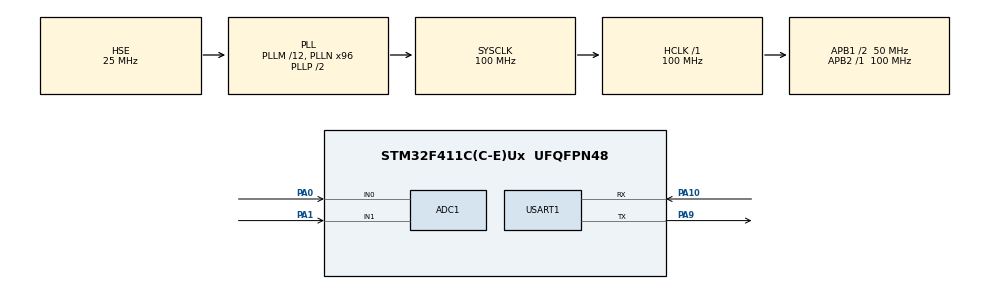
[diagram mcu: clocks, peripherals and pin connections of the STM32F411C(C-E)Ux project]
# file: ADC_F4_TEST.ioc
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ADC1.Channel-0\#ChannelRegularConversion=ADC_CHANNEL_0
ADC1.Channel-1\#ChannelRegularConversion=ADC_CHANNEL_1
ADC1.ContinuousConvMode=ENABLE
ADC1.DMAContinuousRequests=ENABLE
ADC1.NbrOfConversion=2
ADC1.NbrOfConversionFlag=1
ADC1.Rank-0\#ChannelRegularConversion=1
ADC1.Rank-1\#ChannelRegularConversion=2
ADC1.SamplingTime-0\#ChannelRegularConversion=ADC_SAMPLETIME_3CYCLES
ADC1.SamplingTime-1\#ChannelRegularConversion=ADC_SAMPLETIME_3CYCLES
ADC1.ScanConvMode=ENABLE
ADC1.master=1
Dma.ADC1.0.Direction=DMA_PERIPH_TO_MEMORY
Dma.ADC1.0.FIFOMode=DMA_FIFOMODE_DISABLE
Dma.ADC1.0.Instance=DMA2_Stream0
Dma.ADC1.0.MemDataAlignment=DMA_MDATAALIGN_HALFWORD
Dma.ADC1.0.MemInc=DMA_MINC_ENABLE
Dma.ADC1.0.Mode=DMA_CIRCULAR
Dma.ADC1.0.PeriphDataAlignment=DMA_PDATAALIGN_HALFWORD
Dma.ADC1.0.PeriphInc=DMA_PINC_DISABLE
Dma.ADC1.0.Priority=DMA_PRIORITY_LOW
Dma.Request0=ADC1
Mcu.Family=STM32F4
Mcu.Name=STM32F411C(C-E)Ux
Mcu.Package=UFQFPN48
NVIC.DMA2_Stream0_IRQn=true\:0\:0\:false\:false\:true\:false\:true
NVIC.PriorityGroup=NVIC_PRIORITYGROUP_4
PA0-WKUP.Signal=ADCx_IN0
PA1.Signal=ADCx_IN1
PA10.Mode=Asynchronous
PA10.Signal=USART1_RX
PA13.Mode=Serial_Wire
PA13.Signal=SYS_JTMS-SWDIO
PA14.Mode=Serial_Wire
PA14.Signal=SYS_JTCK-SWCLK
PA9.Mode=Asynchronous
PA9.Signal=USART1_TX
PH0\ -\ OSC_IN.Mode=HSE-External-Oscillator
PH0\ -\ OSC_IN.Signal=RCC_OSC_IN
PH1\ -\ OSC_OUT.Mode=HSE-External-Oscillator
PH1\ -\ OSC_OUT.Signal=RCC_OSC_OUT
ProjectManager.HeapSize=0x200
ProjectManager.StackSize=0x400
ProjectManager.TargetToolchain=MDK-ARM V5.32
RCC.48MHZClocksFreq_Value=50000000
RCC.AHBFreq_Value=100000000
RCC.APB1CLKDivider=RCC_HCLK_DIV2
RCC.APB1Freq_Value=50000000
RCC.APB1TimFreq_Value=100000000
RCC.APB2Freq_Value=100000000
RCC.APB2TimFreq_Value=100000000
RCC.CortexFreq_Value=100000000
RCC.HCLKFreq_Value=100000000
RCC.HSE_VALUE=25000000
RCC.HSI_VALUE=16000000
RCC.LSE_VALUE=32768
RCC.PLLM=12
RCC.PLLN=96
RCC.PLLSourceVirtual=RCC_PLLSOURCE_HSE
RCC.SYSCLKFreq_VALUE=100000000
RCC.SYSCLKSource=RCC_SYSCLKSOURCE_PLLCLK
RCC.VCOOutputFreq_Value=200000000
SH.ADCx_IN0.0=ADC1_IN0,IN0
SH.ADCx_IN1.0=ADC1_IN1,IN1
USART1.VirtualMode=VM_ASYNC
board=custom

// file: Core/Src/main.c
/* USER CODE BEGIN Header */
/**
  ******************************************************************************
  * @file           : main.c
  * @brief          : Main program body
  ******************************************************************************
  * @attention
  *
  * <h2><center>&copy; Copyright (c) 2022 STMicroelectronics.
  * All rights reserved.</center></h2>
  *
  * This software component is licensed by ST under BSD 3-Clause license,
  * the "License"; You may not use this file except in compliance with the
  * License. You may obtain a copy of the License at:
  *                        opensource.org/licenses/BSD-3-Clause
  *
  ******************************************************************************
  */
/* USER CODE END Header */
#include "main.h"
#include "adc.h"
#include "dma.h"
#include "usart.h"
#include "gpio.h"

/* USER CODE BEGIN Includes */
#include "stdio.h"
/* USER CODE END Includes */

void SystemClock_Config(void);

int main(void)
{
  /* USER CODE BEGIN 1 */
	uint32_t ADC_Value[100];
	uint8_t i;
	uint32_t ad1,ad2;
  /* USER CODE END 1 */

  /* MCU Configuration--------------------------------------------------------*/

  /* Reset of all peripherals, Initializes the Flash interface and the Systick. */
  HAL_Init();

  /* Configure the system clock */
  SystemClock_Config();

  /* Initialize all configured peripherals */
  MX_GPIO_Init();
  MX_DMA_Init();
  MX_ADC1_Init();
  MX_USART1_UART_Init();
  /* USER CODE BEGIN 2 */
	printf("OK");
	HAL_ADC_Start_DMA(&hadc1, (uint32_t*)&ADC_Value, 100);
  /* USER CODE END 2 */

  /* Infinite loop */
  /* USER CODE BEGIN WHILE */
  while (1)
  {
		HAL_Delay(500);
		for(i = 0,ad1 =0,ad2=0; i < 100;)
		{
			ad1 += ADC_Value[i++];
			ad2 += ADC_Value[i++];
		}
		ad1 /= 50;
		ad2 /= 50;
		printf("\r\n********ADC-DMA-Example********\r\n");
		printf("[\tmain]info:AD1_value=%1.3fV\r\n", ad1*3.3f/4096);
		printf("[\tmain]info:AD2_value=%1.3fV\r\n", ad2*3.3f/4096);
    /* USER CODE END WHILE */

  }
}

void SystemClock_Config(void)
{
  RCC_OscInitTypeDef RCC_OscInitStruct = {0};
  RCC_ClkInitTypeDef RCC_ClkInitStruct = {0};

  /** Configure the main internal regulator output voltage
  */
  __HAL_RCC_PWR_CLK_ENABLE();
  __HAL_PWR_VOLTAGESCALING_CONFIG(PWR_REGULATOR_VOLTAGE_SCALE1);
  /** Initializes the RCC Oscillators according to the specified parameters
  * in the RCC_OscInitTypeDef structure.
  */
  RCC_OscInitStruct.OscillatorType = RCC_OSCILLATORTYPE_HSE;
  RCC_OscInitStruct.HSEState = RCC_HSE_ON;
  RCC_OscInitStruct.PLL.PLLState = RCC_PLL_ON;
  RCC_OscInitStruct.PLL.PLLSource = RCC_PLLSOURCE_HSE;
  RCC_OscInitStruct.PLL.PLLM = 12;
  RCC_OscInitStruct.PLL.PLLN = 96;
  RCC_OscInitStruct.PLL.PLLP = RCC_PLLP_DIV2;
  RCC_OscInitStruct.PLL.PLLQ = 4;
  if (HAL_RCC_OscConfig(&RCC_OscInitStruct) != HAL_OK)
  {
    Error_Handler();
  }
  /** Initializes the CPU, AHB and APB buses clocks
  */
  RCC_ClkInitStruct.ClockType = RCC_CLOCKTYPE_HCLK|RCC_CLOCKTYPE_SYSCLK
                              |RCC_CLOCKTYPE_PCLK1|RCC_CLOCKTYPE_PCLK2;
  RCC_ClkInitStruct.SYSCLKSource = RCC_SYSCLKSOURCE_PLLCLK;
  RCC_ClkInitStruct.AHBCLKDivider = RCC_SYSCLK_DIV1;
  RCC_ClkInitStruct.APB1CLKDivider = RCC_HCLK_DIV2;
  RCC_ClkInitStruct.APB2CLKDivider = RCC_HCLK_DIV1;

  if (HAL_RCC_ClockConfig(&RCC_ClkInitStruct, FLASH_LATENCY_3) != HAL_OK)
  {
    Error_Handler();
  }
}

void Error_Handler(void)
{
  __disable_irq();
  while (1)
  {
  }
}

/************************ (C) COPYRIGHT STMicroelectronics *****END OF FILE****/
